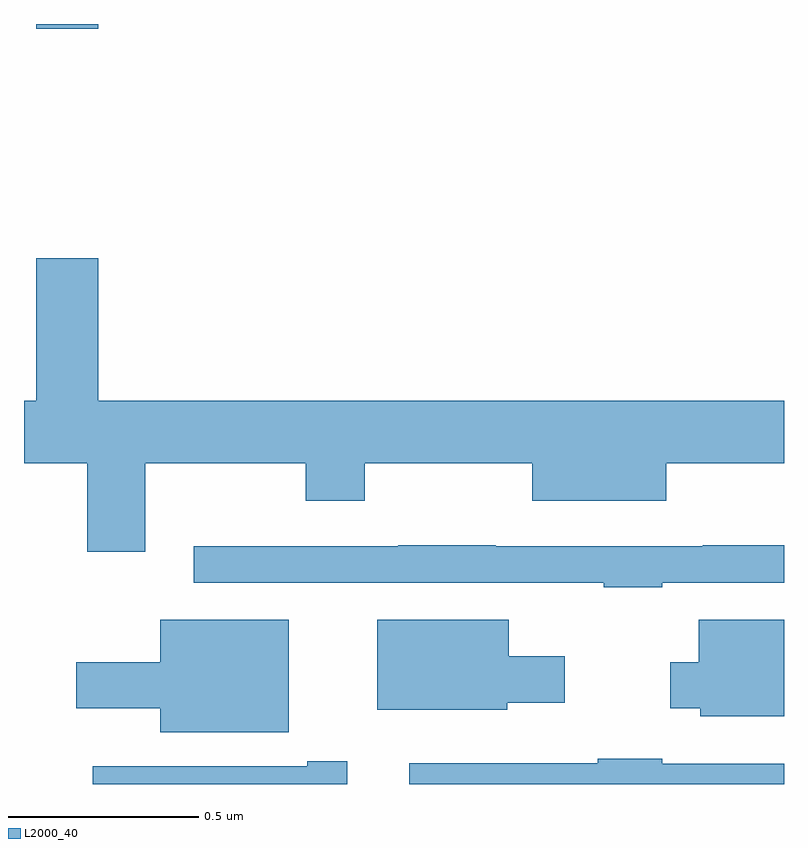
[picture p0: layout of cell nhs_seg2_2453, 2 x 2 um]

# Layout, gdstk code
import gdstk
lib = gdstk.Library(unit=1e-6, precision=1e-09)
def R(c, l, rs):  # rectangles x0, y0, x1, y1
    for r in rs: c.add(gdstk.rectangle(r[:2], r[2:], *l))
def P(c, l, *ps):  # polygons
    for p in ps: c.add(gdstk.Polygon(p, *l))
L2000_40 = (2000, 40)

nhs_seg2_2453 = lib.new_cell('nhs_seg2_2453')
R(nhs_seg2_2453, L2000_40, [(141.032,640.788,141.196,640.8)])
P(nhs_seg2_2453, L2000_40, [(141.319,639.644),(141.742,639.644),(141.742,639.545),(141.897,639.545),(141.897,639.644),(142.337,639.644),(142.337,639.545),(142.69,639.545),(142.69,639.644),(143,639.644),(143,639.808),(141.196,639.808),(141.196,640.183),(141.032,640.183),(141.032,639.808),(141,639.808),(141,639.644),(141.167,639.644),(141.167,639.411),(141.319,639.411)],
  [(142.679,639.33),(143,639.33),(143,639.428),(142.786,639.428),(142.786,639.426),(142.241,639.426),(142.241,639.428),(141.985,639.428),(141.985,639.426),(141.447,639.426),(141.447,639.33),(142.372,639.33),(142.372,639.329),(142.526,639.329),(142.526,639.318),(142.679,639.318)],
  [(142.272,639.014),(142.423,639.014),(142.423,639.136),(142.276,639.136),(142.276,639.232),(141.929,639.232),(141.929,638.996),(142.272,638.996)],
  [(141.697,639.232),(141.359,639.232),(141.359,639.121),(141.138,639.121),(141.138,638.999),(141.359,638.999),(141.359,638.936),(141.697,638.936)],
  [(143,639.232),(142.775,639.232),(142.775,639.121),(142.7,639.121),(142.7,638.999),(142.779,638.999),(142.779,638.978),(143,638.978)],
  [(143,638.853),(142.679,638.853),(142.679,638.866),(142.51,638.866),(142.51,638.854),(142.014,638.854),(142.014,638.8),(143,638.8)],
  [(141.85,638.86),(141.746,638.86),(141.746,638.847),(141.181,638.847),(141.181,638.8),(141.85,638.8)])

lib.write_gds('nhs_seg2_2453.gds')
